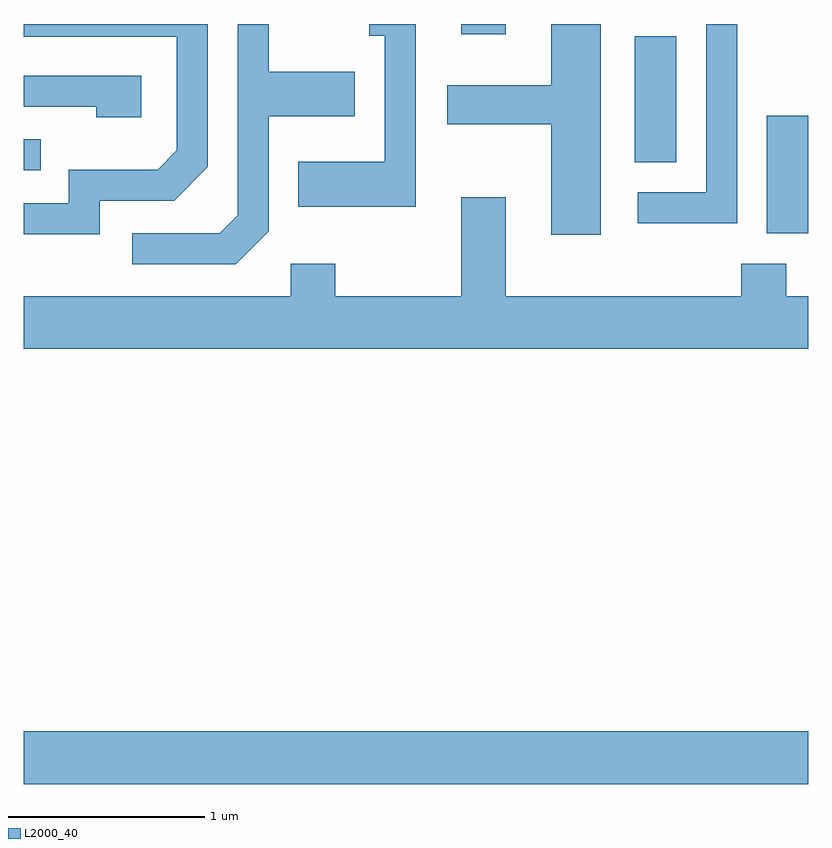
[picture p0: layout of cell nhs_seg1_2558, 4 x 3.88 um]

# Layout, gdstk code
import gdstk
lib = gdstk.Library(unit=1e-6, precision=1e-09)
def R(c, l, rs):  # rectangles x0, y0, x1, y1
    for r in rs: c.add(gdstk.rectangle(r[:2], r[2:], *l))
def P(c, l, *ps):  # polygons
    for p in ps: c.add(gdstk.Polygon(p, *l))
L2000_40 = (2000, 40)

nhs_seg1_2558 = lib.new_cell('nhs_seg1_2558')
R(nhs_seg1_2558, L2000_40, [(263.611,861.836,267.611,862.104), (267.401,864.646,267.611,865.244), (263.611,864.966,263.698,865.124), (266.726,865.006,266.939,865.649), (265.841,865.661,266.069,865.712)])
P(nhs_seg1_2558, L2000_40, [(264.859,864.654),(264.859,865.241),(265.299,865.241),(265.299,865.469),(264.859,865.469),(264.859,865.712),(264.701,865.712),(264.701,864.737),(264.609,864.644),(264.163,864.644),(264.163,864.486),(264.692,864.486)],
  [(265.609,865.712),(265.373,865.712),(265.373,865.651),(265.451,865.651),(265.451,865.009),(265.011,865.009),(265.011,864.781),(265.609,864.781)],
  [(266.554,865.712),(266.301,865.712),(266.301,865.399),(265.771,865.399),(265.771,865.201),(266.301,865.201),(266.301,864.636),(266.554,864.636)],
  [(263.999,864.811),(264.377,864.811),(264.549,864.984),(264.549,865.712),(263.611,865.712),(263.611,865.646),(264.391,865.646),(264.391,865.067),(264.294,864.969),(263.841,864.969),(263.841,864.799),(263.611,864.799),(263.611,864.641),(263.999,864.641)],
  [(267.249,865.712),(267.091,865.712),(267.091,864.854),(266.743,864.854),(266.743,864.696),(267.249,864.696)],
  [(264.209,865.449),(263.611,865.449),(263.611,865.291),(263.981,865.291),(263.981,865.236),(264.209,865.236)],
  [(267.611,864.324),(267.499,864.324),(267.499,864.489),(267.271,864.489),(267.271,864.324),(266.069,864.324),(266.069,864.829),(265.841,864.829),(265.841,864.324),(265.199,864.324),(265.199,864.489),(264.971,864.489),(264.971,864.324),(263.611,864.324),(263.611,864.056),(267.611,864.056)])

lib.write_gds('nhs_seg1_2558.gds')
